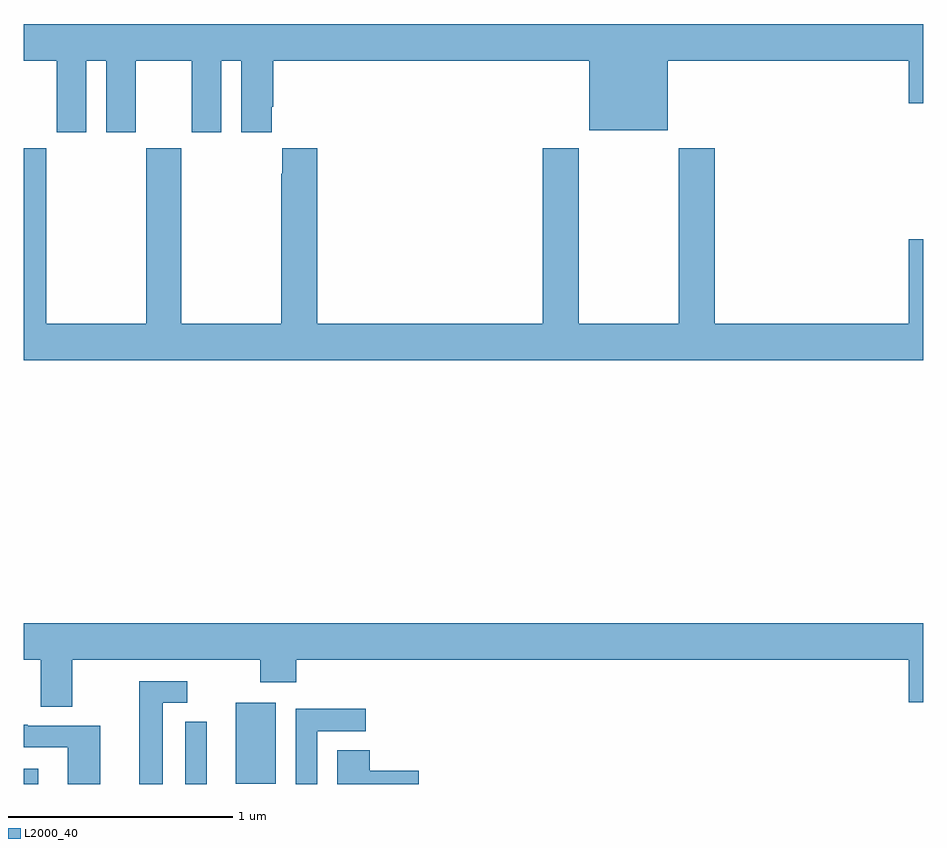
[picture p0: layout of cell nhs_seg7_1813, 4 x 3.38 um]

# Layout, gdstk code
import gdstk
lib = gdstk.Library(unit=1e-6, precision=1e-09)
def R(c, l, rs):  # rectangles x0, y0, x1, y1
    for r in rs: c.add(gdstk.rectangle(r[:2], r[2:], *l))
def P(c, l, *ps):  # polygons
    for p in ps: c.add(gdstk.Polygon(p, *l))
L2000_40 = (2000, 40)

nhs_seg7_1813 = lib.new_cell('nhs_seg7_1813')
R(nhs_seg7_1813, L2000_40, [(233,1064,233.065,1064.068), (233.942,1064.001,234.121,1064.362)])
P(nhs_seg7_1813, L2000_40, [(233.278,1067.216),(233.366,1067.216),(233.366,1066.899),(233.497,1066.899),(233.497,1067.216),(233.747,1067.216),(233.747,1066.899),(233.878,1066.899),(233.878,1067.216),(233.966,1067.216),(233.966,1066.899),(234.103,1066.899),(234.103,1067.011),(234.11,1067.011),(234.11,1067.216),(235.514,1067.216),(235.514,1066.907),(235.864,1066.907),(235.864,1067.216),(236.936,1067.216),(236.936,1067.028),(237,1067.028),(237,1067.38),(233,1067.38),(233,1067.216),(233.147,1067.216),(233.147,1066.899),(233.278,1066.899)],
  [(237,1066.423),(236.936,1066.423),(236.936,1066.048),(236.072,1066.048),(236.072,1066.828),(235.912,1066.828),(235.912,1066.048),(235.467,1066.048),(235.467,1066.828),(235.307,1066.828),(235.307,1066.048),(234.305,1066.048),(234.305,1066.828),(234.149,1066.828),(234.149,1066.715),(234.145,1066.715),(234.145,1066.048),(233.7,1066.048),(233.7,1066.828),(233.545,1066.828),(233.545,1066.048),(233.1,1066.048),(233.1,1066.828),(233,1066.828),(233,1065.884),(237,1065.884)],
  [(233.215,1064.552),(234.052,1064.552),(234.052,1064.453),(234.212,1064.453),(234.212,1064.552),(236.936,1064.552),(236.936,1064.364),(237,1064.364),(237,1064.716),(233,1064.716),(233,1064.552),(233.075,1064.552),(233.075,1064.344),(233.215,1064.344)],
  [(233.617,1064.361),(233.728,1064.361),(233.728,1064.457),(233.513,1064.457),(233.513,1064),(233.617,1064)],
  [(234.306,1064.235),(234.52,1064.235),(234.52,1064.334),(234.21,1064.334),(234.21,1064),(234.306,1064)],
  [(233.813,1064.122),(233.814,1064.122),(233.814,1064.276),(233.718,1064.276),(233.718,1064),(233.813,1064)],
  [(233.341,1064.259),(233.017,1064.259),(233.017,1064.263),(233,1064.263),(233,1064.163),(233.196,1064.163),(233.196,1064),(233.341,1064)],
  [(234.757,1064.06),(234.539,1064.06),(234.539,1064.15),(234.395,1064.15),(234.395,1064),(234.757,1064)])

lib.write_gds('nhs_seg7_1813.gds')
